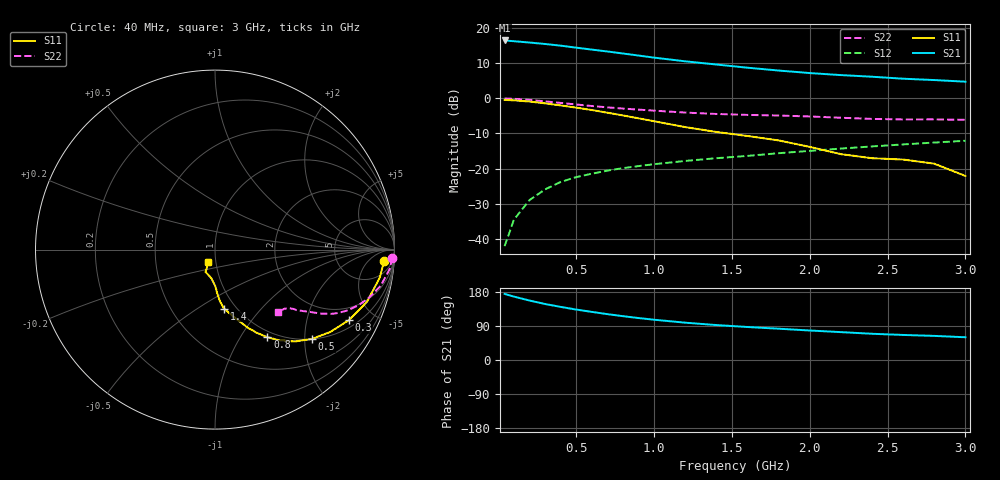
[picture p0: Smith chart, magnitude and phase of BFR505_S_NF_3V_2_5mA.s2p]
! Filename:  BFR505C.S2P  Version:  3.0
! Philips part #: BFR505  Date: Feb 1992
! Bias condition: Vce=3V, Ic=2.5mA
#  MHz  S  MA  R  50
! Freq  S11  S21  S12  S22  !GUM [dB]
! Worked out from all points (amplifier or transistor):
!   21 points, 40 MHz to 3 GHz, reference 50 ohm
!   highest |S21| = 16.3 dB at 40 MHz (marker M1)
!   |S21| within 3 dB of that: start of sweep to 676.8 MHz
!   unconditionally stable (mu >= 1): 1.869 GHz to end of sweep
!   at 300 MHz: K = 0.30, MSG = 20.6 dB, |S12| = -25.8 dB
!   at 1 GHz: K = 0.73, MSG = 15.1 dB, |S12| = -18.7 dB
!   at 3 GHz: K = 1.08, MAG = 6.6 dB, |S12| = -12.1 dB
!   lowest NFmin = 1.30 dB at 900 MHz
!   S11 on the Smith chart (normalised r, x): 40 MHz: 14, -17; 300 MHz: 1.32, -3.60; 500 MHz: 1.00, -2.16; 800 MHz: 0.91, -1.32; 1.4 GHz: 0.88, -0.65; 3 GHz: 0.92, -0.13
40  0.944 -3.9  6.565 174.4  0.008 87.9  0.989 -2.7
100  0.931 -9.7  6.408 167.3  0.019 83.4  0.979 -6.4
200  0.895 -19.0  6.133 156.9  0.036 77.4  0.945 -12.3
300  0.844 -27.7  5.85 147.8  0.051 72.9  0.9 -17.3
400  0.789 -35.6  5.54 140.1  0.065 69.2  0.856 -21.3
500  0.734 -42.7  5.19 133.1  0.076 67.0  0.813 -24.6
600  0.679 -48.9  4.872 127.0  0.085 65.0  0.774 -27.1
700  0.622 -54.5  4.582 121.0  0.094 63.8  0.741 -28.9
800  0.569 -59.1  4.291 115.7  0.102 63.0  0.712 -30.1
900  0.518 -63.4  4.012 110.7  0.109 62.6  0.688 -31.2
1000  0.471 -67.3  3.75 106.3  0.116 62.0  0.665 -32.0
1200  0.389 -74.5  3.324 98.5  0.129 61.7  0.625 -33.6
1400  0.332 -81.4  2.997 92.2  0.141 62.0  0.597 -35.0
1600  0.291 -84.4  2.699 87.1  0.152 62.6  0.579 -35.8
1800  0.252 -86.7  2.461 82.6  0.166 63.5  0.567 -36.6
2000  0.204 -89.5  2.267 77.8  0.179 63.5  0.55 -37.0
2200  0.161 -97.2  2.121 73.6  0.193 63.5  0.528 -38.2
2400  0.141 -108.4  2.011 69.2  0.207 63.2  0.508 -40.4
2600  0.135 -113.1  1.885 66.1  0.221 63.4  0.499 -43.0
2800  0.118 -113.6  1.804 63.6  0.235 64.0  0.5 -44.3
3000  0.079 -118.6  1.711 60.0  0.249 63.7  0.493 -44.7
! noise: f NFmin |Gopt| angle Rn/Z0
900  1.3  0.6  17  0.67
2000  1.9  0.438  48  0.52
